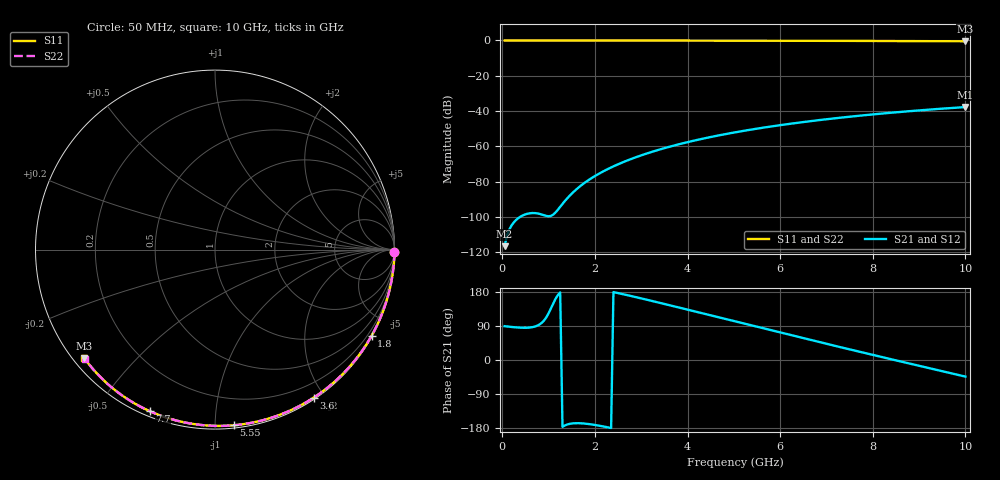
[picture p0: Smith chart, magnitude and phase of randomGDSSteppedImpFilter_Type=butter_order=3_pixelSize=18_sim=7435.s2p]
! freq	dB(S11)	phase(S11)	dB(S12)	phase(S12)
!  dB(S21)	phase(S21)	dB(S22)	phase(S22)
!S-par simulation data
#  GHz  S  DB  R 50
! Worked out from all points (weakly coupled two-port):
!   200 points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, 50 MHz to 10 GHz, reference 50 ohm
!   highest |S21| = -37.77 dB at 10 GHz (marker M1); lowest = -116.7 dB at 50 MHz (marker M2)
!   lowest |S11| = -0.5 dB at 10 GHz (marker M3), VSWR 36.53, Z = 1.55 - j18 ohm
!   |S11| at or under -10 dB: nowhere
!   |S22| runs from -0.5 to 0.0 dB; largest |S21 - S12| = 0
!   S11 on the Smith chart (normalised r, x): 50 MHz: open; 1.8 GHz: 0.03, -3.89; 3.6 GHz: 0.02, -1.87; 5.55 GHz: 0.02, -1.11; 7.7 GHz: 0.02, -0.68; 10 GHz: 0.03, -0.36
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0.05  -0.00 -0.8  -116.66 89.3  -116.66 89.3  -0.00 -0.8
0.45  -0.01 -7.3  -99.12 85.0  -99.12 85.0  -0.01 -7.3
0.9  -0.02 -14.6  -99.10 104.1  -99.10 104.1  -0.02 -14.6
1.75  -0.04 -28.0  -81.26 -167.5  -81.26 -167.5  -0.04 -28.0
1.8  -0.04 -28.8  -80.30 -168.1  -80.30 -168.1  -0.04 -28.8
1.85  -0.04 -29.6  -79.40 -168.8  -79.40 -168.8  -0.04 -29.6
2  -0.04 -32.0  -76.90 -171.4  -76.90 -171.4  -0.04 -32.0
2.15  -0.04 -34.3  -74.66 -174.6  -74.66 -174.6  -0.04 -34.3
2.35  -0.05 -37.4  -72.01 -179.5  -72.01 -179.5  -0.05 -37.4
2.55  -0.05 -40.5  -69.65 175.3  -69.65 175.3  -0.05 -40.5
2.95  -0.06 -46.6  -65.61 164.1  -65.61 164.1  -0.06 -46.6
3.4  -0.07 -53.3  -61.83 150.9  -61.83 150.9  -0.07 -53.3
3.6  -0.08 -56.3  -60.35 144.9  -60.35 144.9  -0.08 -56.3
4.3  -0.09 -66.5  -55.87 123.8  -55.87 123.8  -0.09 -66.4
5.05  -0.12 -77.0  -51.99 101.1  -51.99 101.1  -0.12 -77.0
5.55  -0.14 -83.9  -49.80 86.0  -49.80 86.0  -0.14 -83.9
6.1  -0.16 -91.3  -47.66 69.5  -47.66 69.5  -0.16 -91.2
6.7  -0.19 -99.2  -45.61 51.6  -45.61 51.6  -0.19 -99.1
7.7  -0.26 -111.9  -42.71 22.2  -42.71 22.2  -0.26 -111.9
8.35  -0.31 -120.1  -41.09 3.4  -41.09 3.4  -0.31 -119.9
9.2  -0.39 -130.5  -39.25 -21.0  -39.25 -21.0  -0.39 -130.4
10  -0.48 -140.3  -37.77 -43.8  -37.77 -43.8  -0.47 -140.1
